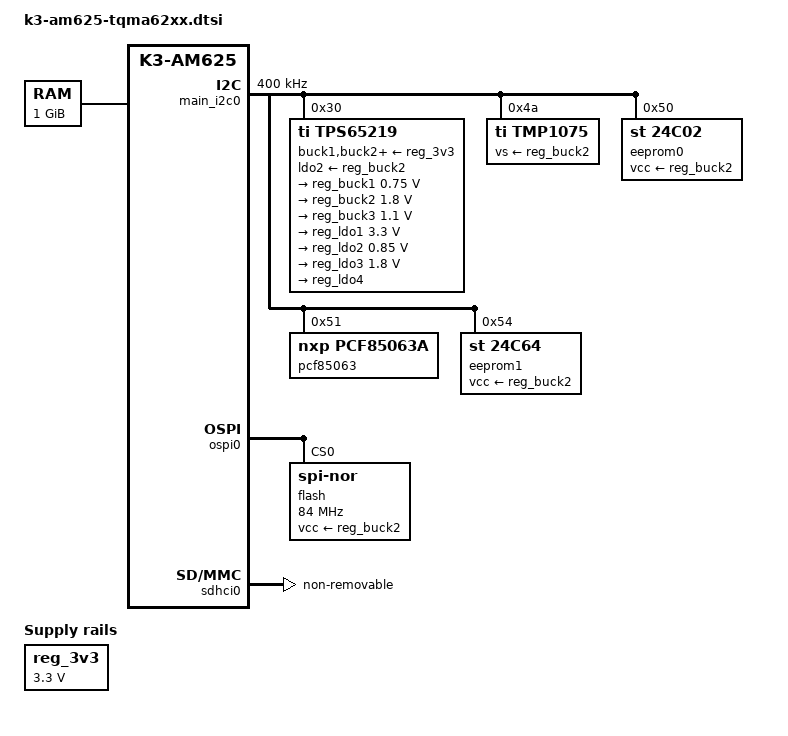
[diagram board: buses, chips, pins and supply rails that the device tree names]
// SPDX-License-Identifier: GPL-2.0-only OR MIT
/*
 * Copyright (C) 2021-2022 Texas Instruments Incorporated - https://www.ti.com/
 * Copyright (c) 2023-2026 TQ-Systems GmbH <linux@ew.tq-group.com>, D-82229 Seefeld, Germany.
 * Author: Nora Schiffer
 */

#include "k3-am625.dtsi"

/ {
	aliases {
		i2c0 = &main_i2c0;
		mmc0 = &sdhci0;
		spi0 = &ospi0;
	};

	memory@80000000 {
		device_type = "memory";
		/* 1G RAM */
		reg = <0x00000000 0x80000000 0x00000000 0x40000000>;
		bootph-pre-ram;
	};

	reserved_memory: reserved-memory {
		#address-cells = <2>;
		#size-cells = <2>;
		ranges;

		ramoops@9c700000 {
			compatible = "ramoops";
			reg = <0x00 0x9c700000 0x00 0x00100000>;
			record-size = <0x8000>;
			console-size = <0x8000>;
			ftrace-size = <0x00>;
			pmsg-size = <0x8000>;
		};

		/* global cma region */
		linux,cma {
			compatible = "shared-dma-pool";
			reusable;
			size = <0x00 0x8000000>;
			linux,cma-default;
		};

		rtos_ipc_memory_region: memory@9c800000 {
			compatible = "shared-dma-pool";
			reg = <0x00 0x9c800000 0x00 0x00300000>;
			no-map;
		};

		wkup_r5fss0_core0_dma_memory_region: memory@9da00000 {
			compatible = "shared-dma-pool";
			reg = <0x00 0x9da00000 0x00 0x100000>;
			no-map;
		};

		wkup_r5fss0_core0_memory_region: memory@9db00000 {
			compatible = "shared-dma-pool";
			reg = <0x00 0x9db00000 0x00 0xc00000>;
			no-map;
		};

		secure_tfa_ddr: tfa@9e780000 {
			reg = <0x00 0x9e780000 0x00 0x80000>;
			alignment = <0x1000>;
			no-map;
		};

		secure_ddr: optee@9e800000 {
			reg = <0x00 0x9e800000 0x00 0x01800000>; /* for OP-TEE */
			alignment = <0x1000>;
			no-map;
		};
	};

	reg_3v3: regulator-3v3 {
		compatible = "regulator-fixed";
		regulator-name = "V_3V3";
		regulator-min-microvolt = <3300000>;
		regulator-max-microvolt = <3300000>;
		regulator-always-on;
		regulator-boot-on;
	};

	reg_sd: regulator-sd {
		/* Output of TPS6521902RSM */
		compatible = "regulator-gpio";
		regulator-name = "V_VDDSHV5";
		regulator-min-microvolt = <1800000>;
		regulator-max-microvolt = <3300000>;
		regulator-boot-on;
		vin-supply = <&reg_ldo1>;
		states = <1800000 0x0>,
			 <3300000 0x1>;
		/* Controlling GPIO set by base board */
		status = "disabled";
	};
};

&main_i2c0 {
	pinctrl-names = "default";
	pinctrl-0 = <&main_i2c0_pins>;
	clock-frequency = <400000>;
	bootph-pre-ram;
	status = "okay";

	tps65219: pmic@30 {
		compatible = "ti,tps65219";
		reg = <0x30>;
		pinctrl-names = "default";
		pinctrl-0 = <&pmic_irq_pins>;
		interrupt-parent = <&gic500>;
		interrupts = <GIC_SPI 224 IRQ_TYPE_LEVEL_HIGH>;
		interrupt-controller;
		#interrupt-cells = <1>;
		buck1-supply = <&reg_3v3>;
		buck2-supply = <&reg_3v3>;
		buck3-supply = <&reg_3v3>;
		ldo1-supply = <&reg_3v3>;
		ldo2-supply = <&reg_buck2>;
		ldo3-supply = <&reg_3v3>;
		ldo4-supply = <&reg_3v3>;
		system-power-controller;
		ti,power-button;

		regulators {
			reg_buck1: buck1 {
				regulator-name = "V_VDD_CORE";
				regulator-min-microvolt = <750000>;
				regulator-max-microvolt = <750000>;
				regulator-boot-on;
				regulator-always-on;
			};

			reg_buck2: buck2 {
				regulator-name = "V_1V8";
				regulator-min-microvolt = <1800000>;
				regulator-max-microvolt = <1800000>;
				regulator-boot-on;
				regulator-always-on;
			};

			reg_buck3: buck3 {
				regulator-name = "V_1V1";
				regulator-min-microvolt = <1100000>;
				regulator-max-microvolt = <1100000>;
				regulator-boot-on;
				regulator-always-on;
			};

			reg_ldo1: ldo1 {
				/* Actual voltage of LDO1 is controlled by GPIO, see reg_sd */
				regulator-name = "V_VDDSHV5_3V3";
				regulator-min-microvolt = <3300000>;
				regulator-max-microvolt = <3300000>;
				regulator-allow-bypass;
				regulator-boot-on;
				regulator-always-on;
			};

			reg_ldo2: ldo2 {
				regulator-name = "V_0V85";
				regulator-min-microvolt = <850000>;
				regulator-max-microvolt = <850000>;
				regulator-boot-on;
				regulator-always-on;
			};

			reg_ldo3: ldo3 {
				regulator-name = "V_1V8A";
				regulator-min-microvolt = <1800000>;
				regulator-max-microvolt = <1800000>;
				regulator-boot-on;
				regulator-always-on;
			};

			reg_ldo4: ldo4 {
				/* Unused */
				regulator-name = "V_VLDO4";
				regulator-boot-on;
			};
		};
	};

	tmp1075: temperature-sensor@4a {
		compatible = "ti,tmp1075";
		reg = <0x4a>;
		vs-supply = <&reg_buck2>;
	};

	eeprom0: eeprom@50 {
		compatible = "st,24c02", "atmel,24c02";
		reg = <0x50>;
		vcc-supply = <&reg_buck2>;
		pagesize = <16>;
		read-only;
		bootph-pre-ram;
	};

	pcf85063: rtc@51 {
		compatible = "nxp,pcf85063a";
		reg = <0x51>;
		quartz-load-femtofarads = <12500>;
	};

	eeprom1: eeprom@54 {
		compatible = "st,24c64", "atmel,24c64";
		reg = <0x54>;
		vcc-supply = <&reg_buck2>;
		pagesize = <32>;
	};
};

&a53_opp_table {
	opp-1400000000 {
		opp-hz = /bits/ 64 <1400000000>;
		opp-supported-hw = <0x01 0x0004>;
		opp-suspend;
		clock-latency-ns = <6000000>;
		/*
		 * Enabled by bootloader if supported. The PMIC configuration
		 * will be adjusted accordingly, as a higher core voltage is
		 * required for 1400MHz operation.
		 */
		status = "disabled";
	};
};

&ospi0 {
	pinctrl-names = "default";
	pinctrl-0 = <&ospi0_pins>;
	bootph-all;
	status = "okay";

	flash@0 {
		compatible = "jedec,spi-nor";
		reg = <0x0>;
		vcc-supply = <&reg_buck2>;
		spi-tx-bus-width = <8>;
		spi-rx-bus-width = <8>;
		spi-max-frequency = <84000000>;
		bootph-all;
		cdns,tshsl-ns = <60>;
		cdns,tsd2d-ns = <60>;
		cdns,tchsh-ns = <60>;
		cdns,tslch-ns = <60>;
		cdns,read-delay = <2>;

		partitions {
			compatible = "fixed-partitions";
			#address-cells = <1>;
			#size-cells = <1>;

			/* Filled by bootloader */
		};
	};
};

&sdhci0 {
	pinctrl-names = "default";
	pinctrl-0 = <&main_mmc0_pins>;
	non-removable;
	disable-wp;
	no-sd;
	no-sdio;
	bootph-all;
	ti,driver-strength-ohm = <50>;
	status = "okay";
};

&wkup_rtc0 {
	/*
	 * Erratum i2327: We can't guarantee that the TQMa62xx will boot fast
	 * enough for U-Boot to apply the workaround within one second after
	 * power-on. Keep the RTC disabled to avoid RTC interrupt issues.
	 *
	 * The external RTC of the TQMa62xx should be used instead.
	 *
	 * If needed, the RTC can be enabled in a baseboard DTS, as long as
	 * boot is fast enough on all relevant boot media.
	 */
	status = "disabled";
};

&main_pmx0 {
	main_i2c0_pins: main-i2c0-pins {
		pinctrl-single,pins = <
			/* (B16) I2C0_SCL */
			AM62X_IOPAD(0x1e0, PIN_INPUT, 0)
			/* (A16) I2C0_SDA */
			AM62X_IOPAD(0x1e4, PIN_INPUT, 0)
		>;
		bootph-pre-ram;
	};

	main_mmc0_pins: main-mmc0-pins {
		pinctrl-single,pins = <
			/* (Y3) MMC0_CMD */
			AM62X_IOPAD(0x220, PIN_INPUT, 0)
			/* (AB1) MMC0_CLK */
			AM62X_IOPAD(0x218, PIN_INPUT, 0)
			/* (AA2) MMC0_DAT0 */
			AM62X_IOPAD(0x214, PIN_INPUT, 0)
			/* (AA1) MMC0_DAT1 */
			AM62X_IOPAD(0x210, PIN_INPUT, 0)
			/* (AA3) MMC0_DAT2 */
			AM62X_IOPAD(0x20c, PIN_INPUT, 0)
			/* (Y4) MMC0_DAT3 */
			AM62X_IOPAD(0x208, PIN_INPUT, 0)
			/* (AB2) MMC0_DAT4 */
			AM62X_IOPAD(0x204, PIN_INPUT, 0)
			/* (AC1) MMC0_DAT5 */
			AM62X_IOPAD(0x200, PIN_INPUT, 0)
			/* (AD2) MMC0_DAT6 */
			AM62X_IOPAD(0x1fc, PIN_INPUT, 0)
			/* (AC2) MMC0_DAT7 */
			AM62X_IOPAD(0x1f8, PIN_INPUT, 0)
		>;
		bootph-all;
	};

	ospi0_pins: ospi0-pins {
		pinctrl-single,pins = <
			/* (H24) OSPI0_CLK */
			AM62X_IOPAD(0x000, PIN_OUTPUT, 0)
			/* (F23) OSPI0_CSn0 */
			AM62X_IOPAD(0x02c, PIN_OUTPUT, 0)
			/* (E25) OSPI0_D0 */
			AM62X_IOPAD(0x00c, PIN_INPUT, 0)
			/* (G24) OSPI0_D1 */
			AM62X_IOPAD(0x010, PIN_INPUT, 0)
			/* (F25) OSPI0_D2 */
			AM62X_IOPAD(0x014, PIN_INPUT, 0)
			/* (F24) OSPI0_D3 */
			AM62X_IOPAD(0x018, PIN_INPUT, 0)
			/* (J23) OSPI0_D4 */
			AM62X_IOPAD(0x01c, PIN_INPUT, 0)
			/* (J25) OSPI0_D5 */
			AM62X_IOPAD(0x020, PIN_INPUT, 0)
			/* (H25) OSPI0_D6 */
			AM62X_IOPAD(0x024, PIN_INPUT, 0)
			/* (J22) OSPI0_D7 */
			AM62X_IOPAD(0x028, PIN_INPUT, 0)
			/* (J24) OSPI0_DQS */
			AM62X_IOPAD(0x008, PIN_INPUT, 0)
			/* (G25) OSPI0_LBCLKO */
			AM62X_IOPAD(0x004, PIN_INPUT, 0)
		>;
	};

	pmic_irq_pins: pmic-irq-pins {
		pinctrl-single,pins = <
			/* (D16) EXTINTn */
			AM62X_IOPAD(0x01f4, PIN_INPUT_PULLUP, 0)
		>;
	};
};

#include "k3-am62-ti-ipc-firmware.dtsi"
